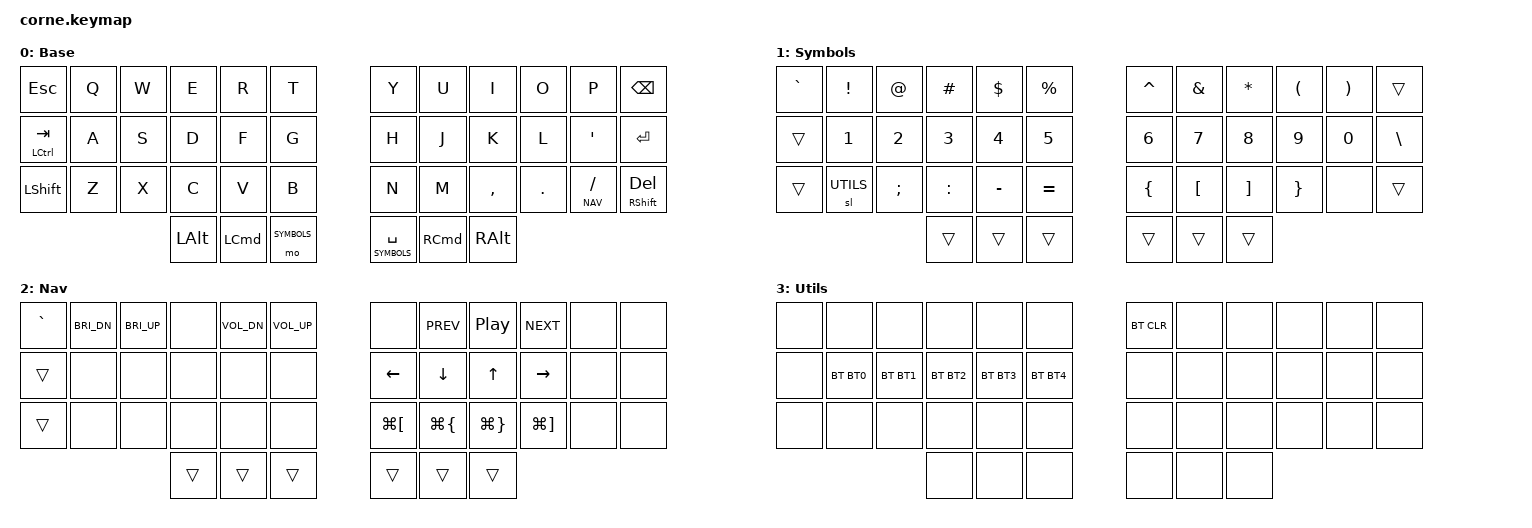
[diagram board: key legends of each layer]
/*
 * Copyright (c) 2020 The ZMK Contributors
 *
 * SPDX-License-Identifier: MIT
 */

#include <behaviors.dtsi>
#include <dt-bindings/zmk/keys.h>
#include <dt-bindings/zmk/bt.h>

#define DEFAULT 0
#define SYMBOLS 1
#define NAV 2
#define UTILS 3

#define ________ &trans
#define XXXXXXXX &none

#define BRI_DN C_BRI_DN
#define BRI_UP C_BRI_UP
#define VOL_DN C_VOL_DN
#define VOL_UP C_VOL_UP

#define CTRL_TAB &mht LCTRL TAB
#define SLSH_NAV &mhtl NAV FSLH
#define SHFT_DEL &qht RSHFT DEL
#define SPACE_SYM &mhtltp SYMBOLS SPACE

#define WEB_PRV LG(LBKT)
#define WEB_NXT LG(RBKT)
#define PRV_TAB LG(LBRC)
#define NXT_TAB LG(RBRC)

#define BTSEL0 BT_SEL 0
#define BTSEL1 BT_SEL 1
#define BTSEL2 BT_SEL 2
#define BTSEL3 BT_SEL 3
#define BTSEL4 BT_SEL 4


&sl {
    release-after-ms = <2000>;
};

/ {
    behaviors {
        qht: quick_hold_tap {
            compatible = "zmk,behavior-hold-tap";
            #binding-cells = <2>;
            flavor = "hold-preferred";
            tapping-term-ms = <100>;
            bindings = <&kp>, <&kp>;
        };

        mht: medium_hold_tap {
            compatible = "zmk,behavior-hold-tap";
            #binding-cells = <2>;
            flavor = "hold-preferred";
            tapping-term-ms = <150>;
            quick-tap-ms = <150>;
            bindings = <&kp>, <&kp>;
        };

        mhtl: medium_hold_tap_layer {
            compatible = "zmk,behavior-hold-tap";
            #binding-cells = <2>;
            flavor = "hold-preferred";
            tapping-term-ms = <150>;
            bindings = <&mo>, <&kp>;
        };

        mhtltp: medium_hold_tap_layer_tap_preferred {
            compatible = "zmk,behavior-hold-tap";
            #binding-cells = <2>;
            flavor = "tap-preferred";
            tapping-term-ms = <150>;
            bindings = <&mo>, <&kp>;
        };
    };
    
    keymap {
        compatible = "zmk,keymap";

        default_layer {
            display-name = "Base";
            bindings = <
   &kp ESC      &kp Q       &kp W       &kp E       &kp R       &kp T       &kp Y       &kp U       &kp I       &kp O       &kp P       &kp BSPC
   CTRL_TAB     &kp A       &kp S       &kp D       &kp F       &kp G       &kp H       &kp J       &kp K       &kp L       &kp SQT     &kp RET
   &kp LSHFT    &kp Z       &kp X       &kp C       &kp V       &kp B       &kp N       &kp M       &kp COMMA   &kp DOT     SLSH_NAV    SHFT_DEL
                                        &kp LALT    &kp LCMD    &mo SYMBOLS SPACE_SYM   &kp RCMD    &kp RALT
                                        >;
        };

        symbols_layer {
            display-name = "Symbols";
            bindings = <
   &kp GRAVE    &kp EXCL    &kp AT      &kp HASH    &kp DLLR    &kp PRCNT   &kp CARET   &kp AMPS    &kp ASTRK   &kp LPAR    &kp RPAR    ________
   ________     &kp N1      &kp N2      &kp N3      &kp N4      &kp N5      &kp N6      &kp N7      &kp N8      &kp N9      &kp N0      &kp BSLH
   ________     &sl UTILS   &kp SEMI    &kp COLON   &kp MINUS   &kp EQUAL   &kp LBRC    &kp LBKT    &kp RBKT    &kp RBRC    XXXXXXXX    ________
                                        ________    ________    ________    ________    ________    ________
                                        >;
        };

        nav_layer {
            display-name = "Nav";
            bindings = <
   &kp GRAVE    &kp BRI_DN  &kp BRI_UP  XXXXXXXX    &kp VOL_DN  &kp VOL_UP  XXXXXXXX    &kp C_PREV  &kp C_PP    &kp C_NEXT  XXXXXXXX    XXXXXXXX
   ________     XXXXXXXX    XXXXXXXX    XXXXXXXX    XXXXXXXX    XXXXXXXX    &kp LEFT    &kp DOWN    &kp UP      &kp RIGHT   XXXXXXXX    XXXXXXXX
   ________     XXXXXXXX    XXXXXXXX    XXXXXXXX    XXXXXXXX    XXXXXXXX    &kp WEB_PRV &kp PRV_TAB &kp NXT_TAB &kp WEB_NXT XXXXXXXX    XXXXXXXX
                                        ________    ________    ________    ________    ________    ________
                                        >;
        };

        utils_layer {
            display-name = "Utils";
            bindings = <
   XXXXXXXX     XXXXXXXX    XXXXXXXX    XXXXXXXX    XXXXXXXX    XXXXXXXX    &bt BT_CLR  XXXXXXXX    XXXXXXXX    XXXXXXXX    XXXXXXXX    XXXXXXXX
   XXXXXXXX     &bt BTSEL0  &bt BTSEL1  &bt BTSEL2  &bt BTSEL3  &bt BTSEL4  XXXXXXXX    XXXXXXXX    XXXXXXXX    XXXXXXXX    XXXXXXXX    XXXXXXXX
   XXXXXXXX     XXXXXXXX    XXXXXXXX    XXXXXXXX    XXXXXXXX    XXXXXXXX    XXXXXXXX    XXXXXXXX    XXXXXXXX    XXXXXXXX    XXXXXXXX    XXXXXXXX
                                        XXXXXXXX    XXXXXXXX    XXXXXXXX    XXXXXXXX    XXXXXXXX    XXXXXXXX
                                        >;
        };
    };
};

